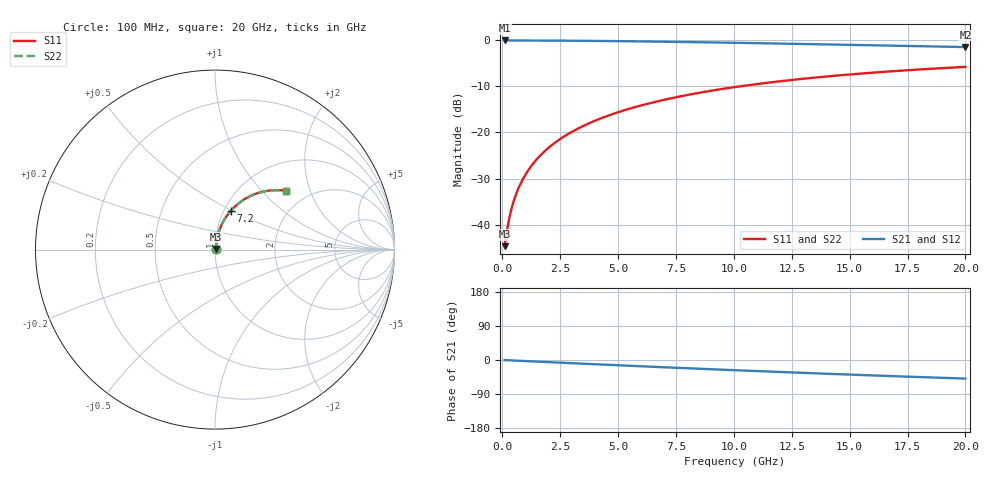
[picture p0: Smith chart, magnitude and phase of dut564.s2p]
! Touchstone file exported from HFSS 2026.1.0
!  File:  C:/ffzhzh/LocalFiles/Ansys_Project_Files/temp_train_BSMRDL_564_1783015389_55676.aedt
!  Generated:  02:04:32 AM Jul  3, 2026
!  Design:  BSMRDL
!  Project:  temp_train_BSMRDL_564_1783015389_55676
! Variables:
!  h_bsmrdl = 3.8um
!  h_ox = 20um
!  h_rdl = 5um
!  h_sub = 80um
!  h_tmrdl = 5um
!  h_tsv = 80um
!  h_via = 3um
!  l_bsmrdl = 683.34um
!  l_sub = 1083.34um
!  l_tmrdl = 200um
!  m_sub = 200um
!  pitch = 48.38um
!  r_tsv = 6um
!  s_tmrdl = 10um
!  w_bsmrdl = 13.96um
!  w_sub = 500um
!  w_tmrdl = 12um
!  x_tsv_center1 = 206um
!  x_tsv_center2 = 903.3um
!  x_tsv_center3 = 1115.3um
!  x_tsv_center4 = 1812.6um
!  x_tsv_center5 = 2024.6um
!  x_tsv_center6 = 2721.9um
# GHz S MA R 50.000000
! Terminal data exported
! Port[1] = BSM_RDL1_1_T1
! Port[2] = BSM_RDL1_1_T2
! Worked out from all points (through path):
!   200 points, 100 MHz to 20 GHz, reference 50 ohm
!   highest |S21| = -0.04 dB at 100 MHz (marker M1); lowest = -1.5 dB at 20 GHz (marker M2)
!   group delay of S21, straight-line fit = 6.82 ps
!   lowest |S11| = -44.7 dB at 100 MHz (marker M3), VSWR 1.01, Z = 50.5 + j0.359 ohm
!   |S11| at or under -10 dB: start of sweep to 10.26 GHz
!   |S22| runs from -44.7 to -5.8 dB; largest |S21 - S12| = 3e-15
!   S11 on the Smith chart (normalised r, x): 100 MHz: 1.01, +0.01; 7.2 GHz: 1.08, +0.49; 20 GHz: 1.56, +1.39
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0.1  0.005844 37.5  0.9954 -0.3  0.9954 -0.3  0.005844 37.5
! Gamma 0 0 0 0
! Port Impedance 50 0 50 0
0.2  0.008543 56.0  0.9953 -0.6  0.9953 -0.6  0.008543 56.0
0.3  0.01168 64.8  0.9951 -0.9  0.9951 -0.9  0.01168 64.8
0.4  0.01494 69.5  0.995 -1.2  0.995 -1.2  0.01494 69.5
0.5  0.01824 72.5  0.9948 -1.4  0.9948 -1.4  0.01824 72.5
0.6  0.02156 74.4  0.9946 -1.7  0.9946 -1.7  0.02156 74.4
0.8  0.02821 76.8  0.9943 -2.3  0.9943 -2.3  0.02821 76.8
1.1  0.03821 78.6  0.9938 -3.1  0.9938 -3.1  0.03821 78.6
1.5  0.05158 79.4  0.993 -4.2  0.993 -4.2  0.05158 79.4
1.8  0.06161 79.5  0.9923 -5.1  0.9923 -5.1  0.06161 79.5
2.1  0.07162 79.3  0.9915 -5.9  0.9915 -5.9  0.07162 79.3
2.7  0.09154 78.4  0.9895 -7.6  0.9895 -7.6  0.09154 78.4
3.5  0.1178 76.9  0.9863 -9.8  0.9863 -9.8  0.1178 76.9
4.2  0.1404 75.3  0.9828 -11.7  0.9828 -11.7  0.1404 75.3
5  0.1658 73.4  0.9783 -13.9  0.9783 -13.9  0.1658 73.4
6.8  0.2206 68.9  0.9662 -18.7  0.9662 -18.7  0.2206 68.9
7.2  0.2323 67.9  0.9632 -19.7  0.9632 -19.7  0.2323 67.9
8.6  0.272 64.5  0.9519 -23.3  0.9519 -23.3  0.272 64.5
10.1  0.3122 60.9  0.9387 -27.1  0.9387 -27.1  0.3122 60.8
13.4  0.3916 53.3  0.9075 -34.9  0.9075 -34.9  0.3915 53.2
16.7  0.4587 46.1  0.8753 -42.2  0.8753 -42.2  0.4587 46.1
20  0.5142 39.5  0.844 -49.1  0.844 -49.1  0.5142 39.4
